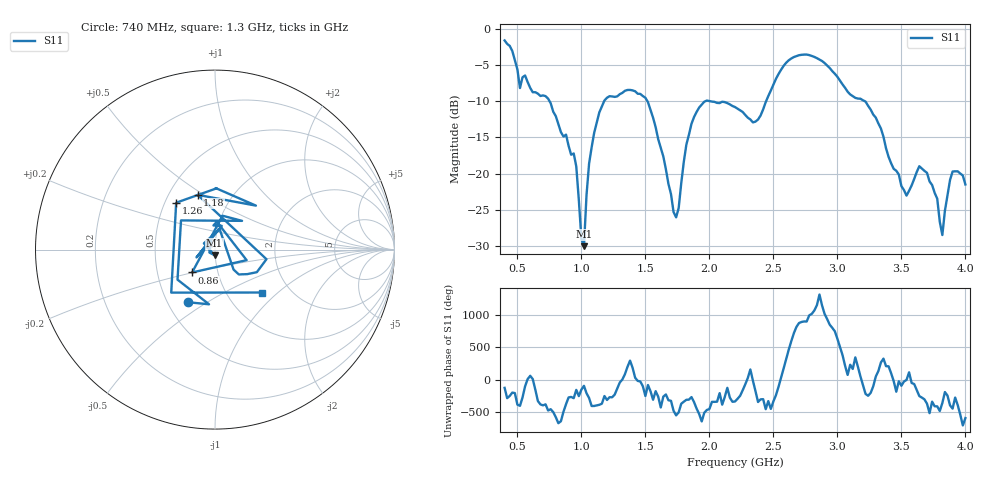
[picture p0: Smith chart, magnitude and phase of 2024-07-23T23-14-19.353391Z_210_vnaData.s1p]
!Created with skrf (http://scikit-rf.org).
# Hz S RI R 50.0
!freq ReS11 ImS11
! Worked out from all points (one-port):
!   181 points, 400 MHz to 4 GHz, reference 50 ohm
!   lowest |S11| = -30.1 dB at 1.02 GHz (marker M1), VSWR 1.06, Z = 49.7 - j3.12 ohm
!   |S11| at or under -10 dB: 1.516 GHz to 1.968 GHz (451.7 MHz wide, 25.9 % of centre); 2.009 GHz to 2.443 GHz (434 MHz wide, 19.5 % of centre); 3.215 GHz to end of sweep (the widest 3 of 4)
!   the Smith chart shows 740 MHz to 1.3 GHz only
!   S11 on the Smith chart (normalised r, x): 740 MHz: 0.63, -0.42; 860 MHz: 0.75, -0.20; 1.18 GHz: 0.69, +0.47; 1.26 GHz: 0.57, +0.34; 1.3 GHz: 1.45, -0.79
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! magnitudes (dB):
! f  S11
! 400 MHz  -1.6
! 520 MHz  -8.2
! 740 MHz  -9.6
! 860 MHz  -14.9
! 960 MHz  -19.0
! 1 GHz  -29.1
! 1.02 GHz  -30.1
! 1.06 GHz  -18.6
! 1.18 GHz  -9.9
! 1.26 GHz  -9.4
! 1.3 GHz  -9.0
! 1.52 GHz  -10.1
! 1.72 GHz  -25.3
! 1.76 GHz  -24.8
! 1.82 GHz  -16.0
! 1.9 GHz  -11.5
! 2.2 GHz  -10.8
! 2.38 GHz  -12.5
! 2.66 GHz  -3.9
! 2.88 GHz  -4.4
! 3.1 GHz  -9.1
! 3.3 GHz  -12.3
! 3.56 GHz  -22.4
! 3.7 GHz  -19.9
! 3.78 GHz  -23.5
! 3.82 GHz  -28.5
! 3.9 GHz  -19.7
! 4 GHz  -21.5
